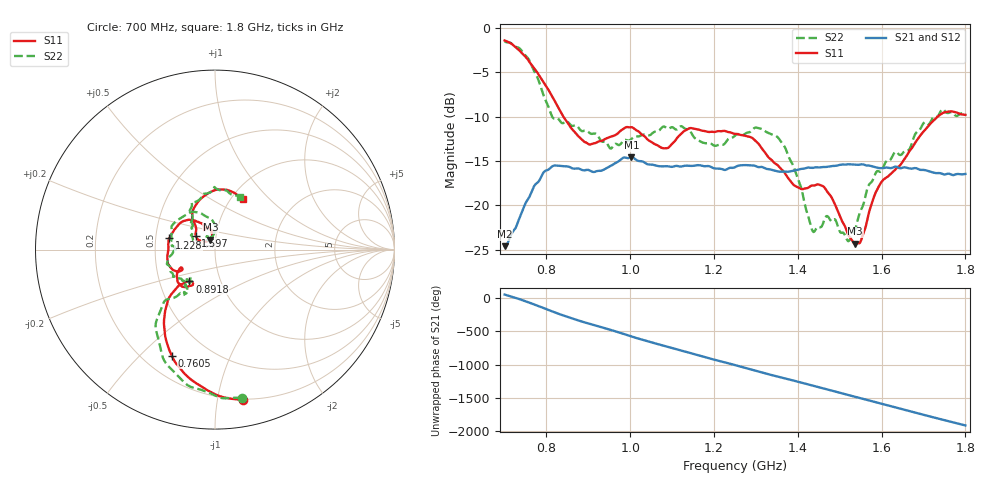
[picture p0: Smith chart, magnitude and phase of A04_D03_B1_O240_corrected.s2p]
! Created with skrf 1.9.0 (http://scikit-rf.org).
# Hz S RI R 50.0
!freq ReS11 ImS11 ReS21 ImS21 ReS12 ImS12 ReS22 ImS22
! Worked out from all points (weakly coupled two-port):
!   1601 points, 700 MHz to 1.8 GHz, reference 50 ohm
!   highest |S21| = -14.57 dB at 1.002 GHz (marker M1); lowest = -24.6 dB at 700.7 MHz (marker M2)
!   lowest |S11| = -24.3 dB at 1.537 GHz (marker M3), VSWR 1.13, Z = 47.2 + j5.2 ohm
!   |S11| at or under -10 dB: 840.5 MHz to 1.734 GHz (893.2 MHz wide, 69.4 % of centre)
!   |S22| runs from -24.0 to -1.5 dB; largest |S21 - S12| = 0.0036
!   S11 on the Smith chart (normalised r, x): 700 MHz: 0.20, -1.19; 760.5 MHz: 0.31, -0.63; 891.8 MHz: 0.71, -0.27; 1.228 GHz: 0.59, +0.08; 1.597 GHz: 0.80, +0.13; 1.8 GHz: 1.13, +0.72
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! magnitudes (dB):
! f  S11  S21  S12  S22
! 700 MHz  -1.4  -24.6  -24.4  -1.5
! 700.7 MHz  -1.4  -24.6  -24.3  -1.5
! 760.5 MHz  -3.9  -18.9  -18.8  -3.8
! 814.8 MHz  -7.8  -15.6  -15.6  -10.1
! 883.6 MHz  -12.5  -16.0  -15.9  -11.6
! 891.8 MHz  -12.9  -16.0  -16.1  -11.6
! 953 MHz  -12.3  -15.5  -15.5  -13.6
! 1.002 GHz  -11.2  -14.6  -14.7  -12.5
! 1.067 GHz  -13.3  -15.6  -15.5  -11.6
! 1.228 GHz  -11.6  -16.0  -15.9  -12.9
! 1.25 GHz  -11.9  -15.7  -15.6  -12.1
! 1.355 GHz  -15.6  -16.2  -16.1  -12.5
! 1.394 GHz  -17.8  -16.0  -16.0  -16.1
! 1.434 GHz  -17.8  -15.8  -15.7  -22.7
! 1.467 GHz  -18.2  -15.7  -15.6  -21.3
! 1.52 GHz  -23.2  -15.4  -15.4  -24.0
! 1.537 GHz  -24.3  -15.4  -15.4  -22.7
! 1.568 GHz  -21.1  -15.5  -15.5  -17.8
! 1.597 GHz  -17.5  -15.8  -15.8  -16.2
! 1.617 GHz  -16.7  -15.8  -15.7  -15.0
! 1.737 GHz  -9.9  -16.3  -16.4  -9.8
! 1.8 GHz  -9.8  -16.4  -16.4  -9.8
